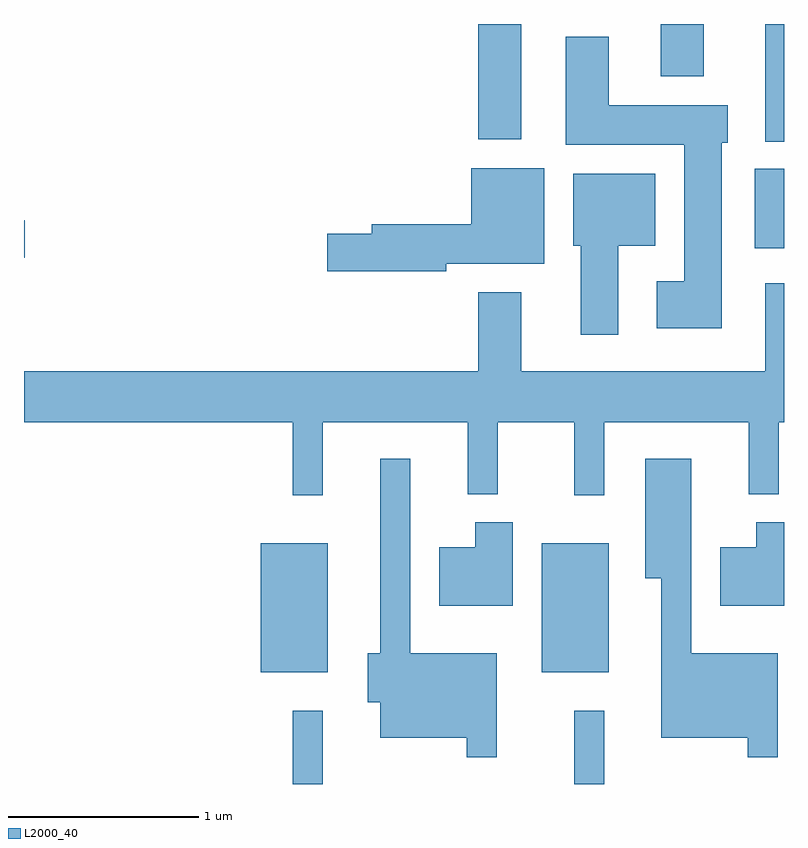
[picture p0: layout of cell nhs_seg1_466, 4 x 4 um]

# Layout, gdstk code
import gdstk
lib = gdstk.Library(unit=1e-6, precision=1e-09)
def R(c, l, rs):  # rectangles x0, y0, x1, y1
    for r in rs: c.add(gdstk.rectangle(r[:2], r[2:], *l))
def P(c, l, *ps):  # polygons
    for p in ps: c.add(gdstk.Polygon(p, *l))
L2000_40 = (2000, 40)

nhs_seg1_466 = lib.new_cell('nhs_seg1_466')
R(nhs_seg1_466, L2000_40, [(201.026,857.712,201.184,858.098), (202.506,857.712,202.664,858.098), (200.856,858.301,201.209,858.979), (202.336,858.301,202.689,858.979), (199.611,860.481,199.614,860.679), (203.456,860.531,203.611,860.949), (203.511,861.093,203.611,861.712), (202.001,861.106,202.229,861.712), (202.961,861.436,203.189,861.712)])
P(nhs_seg1_466, L2000_40, [(203.284,861.086),(203.314,861.086),(203.314,861.284),(202.689,861.284),(202.689,861.644),(202.461,861.644),(202.461,861.076),(203.086,861.076),(203.086,860.359),(202.941,860.359),(202.941,860.111),(203.284,860.111)],
  [(201.834,860.451),(202.349,860.451),(202.349,860.954),(201.966,860.954),(201.966,860.659),(201.441,860.659),(201.441,860.609),(201.206,860.609),(201.206,860.411),(201.834,860.411)],
  [(202.739,860.546),(202.934,860.546),(202.934,860.924),(202.501,860.924),(202.501,860.546),(202.541,860.546),(202.541,860.076),(202.739,860.076)],
  [(201.184,859.616),(201.946,859.616),(201.946,859.238),(202.104,859.238),(202.104,859.616),(202.506,859.616),(202.506,859.233),(202.664,859.233),(202.664,859.616),(203.426,859.616),(203.426,859.238),(203.584,859.238),(203.584,859.616),(203.611,859.616),(203.611,860.348),(203.511,860.348),(203.511,859.884),(202.229,859.884),(202.229,860.299),(202.001,860.299),(202.001,859.884),(199.611,859.884),(199.611,859.616),(201.026,859.616),(201.026,859.233),(201.184,859.233)],
  [(203.579,858.399),(203.124,858.399),(203.124,859.424),(202.881,859.424),(202.881,858.796),(202.966,858.796),(202.966,857.956),(203.421,857.956),(203.421,857.853),(203.579,857.853)],
  [(202.099,858.399),(201.644,858.399),(201.644,859.423),(201.486,859.423),(201.486,858.399),(201.421,858.399),(201.421,858.141),(201.486,858.141),(201.486,857.956),(201.941,857.956),(201.941,857.853),(202.099,857.853)],
  [(202.184,859.089),(201.986,859.089),(201.986,858.959),(201.796,858.959),(201.796,858.651),(202.184,858.651)],
  [(203.611,859.089),(203.466,859.089),(203.466,858.959),(203.276,858.959),(203.276,858.651),(203.611,858.651)])

lib.write_gds('nhs_seg1_466.gds')
